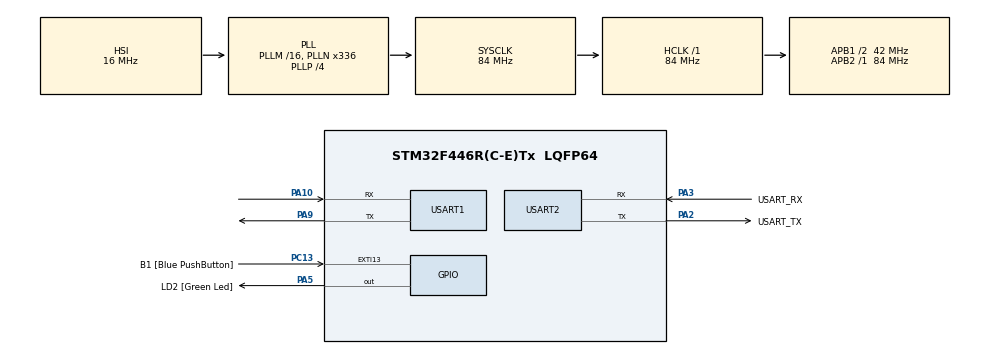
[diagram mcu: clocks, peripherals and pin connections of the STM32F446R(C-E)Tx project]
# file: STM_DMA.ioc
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Dma.Request0=USART1_RX
Dma.USART1_RX.0.Direction=DMA_PERIPH_TO_MEMORY
Dma.USART1_RX.0.FIFOMode=DMA_FIFOMODE_DISABLE
Dma.USART1_RX.0.Instance=DMA2_Stream2
Dma.USART1_RX.0.MemDataAlignment=DMA_MDATAALIGN_BYTE
Dma.USART1_RX.0.MemInc=DMA_MINC_ENABLE
Dma.USART1_RX.0.Mode=DMA_CIRCULAR
Dma.USART1_RX.0.PeriphDataAlignment=DMA_PDATAALIGN_BYTE
Dma.USART1_RX.0.PeriphInc=DMA_PINC_DISABLE
Dma.USART1_RX.0.Priority=DMA_PRIORITY_LOW
Mcu.Family=STM32F4
Mcu.Name=STM32F446R(C-E)Tx
Mcu.Package=LQFP64
NVIC.DMA2_Stream2_IRQn=true\:0\:0\:false\:false\:true\:false\:true\:true
NVIC.PriorityGroup=NVIC_PRIORITYGROUP_0
PA10.Mode=Asynchronous
PA10.Signal=USART1_RX
PA13.GPIO_Label=TMS
PA13.Mode=Serial_Wire
PA13.Signal=SYS_JTMS-SWDIO
PA14.GPIO_Label=TCK
PA14.Mode=Serial_Wire
PA14.Signal=SYS_JTCK-SWCLK
PA2.GPIO_Label=USART_TX
PA2.Mode=Asynchronous
PA2.Signal=USART2_TX
PA3.GPIO_Label=USART_RX
PA3.Mode=Asynchronous
PA3.Signal=USART2_RX
PA5.GPIO_Label=LD2 [Green Led]
PA5.Signal=GPIO_Output
PA9.Mode=Asynchronous
PA9.Signal=USART1_TX
PB3.GPIO_Label=SWO
PB3.Signal=SYS_JTDO-SWO
PC13.GPIO_Label=B1 [Blue PushButton]
PC13.GPIO_ModeDefaultEXTI=GPIO_MODE_IT_FALLING
PC13.Signal=GPXTI13
PC14-OSC32_IN.Mode=LSE-External-Oscillator
PC14-OSC32_IN.Signal=RCC_OSC32_IN
PC15-OSC32_OUT.Mode=LSE-External-Oscillator
PC15-OSC32_OUT.Signal=RCC_OSC32_OUT
PH0-OSC_IN.Mode=HSE-External-Oscillator
PH0-OSC_IN.Signal=RCC_OSC_IN
PH1-OSC_OUT.Mode=HSE-External-Oscillator
PH1-OSC_OUT.Signal=RCC_OSC_OUT
ProjectManager.HeapSize=0x200
ProjectManager.StackSize=0x400
ProjectManager.TargetToolchain=STM32CubeIDE
RCC.48MHZClocksFreq_Value=84000000
RCC.AHBFreq_Value=84000000
RCC.APB1CLKDivider=RCC_HCLK_DIV2
RCC.APB1Freq_Value=42000000
RCC.APB1TimFreq_Value=84000000
RCC.APB2Freq_Value=84000000
RCC.APB2TimFreq_Value=84000000
RCC.CortexFreq_Value=84000000
RCC.FLatency-AdvancedSettings=FLASH_LATENCY_2
RCC.HCLKFreq_Value=84000000
RCC.HSE_VALUE=8000000
RCC.HSI_VALUE=16000000
RCC.PLLN=336
RCC.PLLP=RCC_PLLP_DIV4
RCC.SYSCLKFreq_VALUE=84000000
RCC.SYSCLKSource=RCC_SYSCLKSOURCE_PLLCLK
RCC.USBFreq_Value=168000000
RCC.VCOOutputFreq_Value=336000000
USART1.VirtualMode=VM_ASYNC
USART2.VirtualMode=VM_ASYNC
board=NUCLEO-F446RE

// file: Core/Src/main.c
/* USER CODE BEGIN Header */
/**
  ******************************************************************************
  * @file           : main.c
  * @brief          : Main program body
  ******************************************************************************
  * @attention
  *
  * Copyright (c) 2025 STMicroelectronics.
  * All rights reserved.
  *
  * This software is licensed under terms that can be found in the LICENSE file
  * in the root directory of this software component.
  * If no LICENSE file comes with this software, it is provided AS-IS.
  *
  ******************************************************************************
  */
/* USER CODE END Header */
#include "main.h"

UART_HandleTypeDef huart1;
UART_HandleTypeDef huart2;
DMA_HandleTypeDef hdma_usart1_rx;

void SystemClock_Config(void);
static void MX_GPIO_Init(void);
static void MX_DMA_Init(void);
static void MX_USART2_UART_Init(void);
static void MX_USART1_UART_Init(void);

/* USER CODE BEGIN 0 */
#define BUFFER_SIZE 20

volatile uint8_t RxData[BUFFER_SIZE];     // DMA reception buffer
volatile uint8_t ParsedData[BUFFER_SIZE]; // Data ready for plotting
volatile uint16_t DataLength = 0;         // Number of valid bytes parsed
int countfull = 0;

void ParseDMADataAndForward(uint8_t *dmaBuffer, uint16_t length)
{
    // Limit to buffer size
    if (length > BUFFER_SIZE) length = BUFFER_SIZE;

    for (uint16_t i = 0; i < length; i++)
    {
        ParsedData[i] = dmaBuffer[i]; // store for plotting
    }

    DataLength = length; // update length for SWM or plotting

    // Forward parsed data to USART2
    HAL_UART_Transmit(&huart2, ParsedData, DataLength, HAL_MAX_DELAY);
}
int i;
void HAL_UART_RxCpltCallback(UART_HandleTypeDef *huart)
{
    if (huart->Instance == USART1)
    {
        countfull++;                          // increment packet counter
        if(RxData[0]==0xAA)
        {
        ParseDMADataAndForward((uint8_t *)RxData, 20);   // parse first 4 bytes
        }
        else
        {
;
        	i++;
        }
        HAL_UART_Receive_DMA(&huart1, RxData, 20); // restart DMA
    }
}

/* USER CODE END 0 */

int main(void)
{

  /* MCU Configuration--------------------------------------------------------*/

  /* Reset of all peripherals, Initializes the Flash interface and the Systick. */
  HAL_Init();

  /* Configure the system clock */
  SystemClock_Config();

  /* Initialize all configured peripherals */
  MX_GPIO_Init();
  MX_DMA_Init();
  MX_USART2_UART_Init();
  MX_USART1_UART_Init();
  /* USER CODE BEGIN 2 */
  HAL_UART_Receive_DMA(&huart1, RxData, 20);
  /* USER CODE END 2 */

  /* Infinite loop */
  while (1)
  {

    /* USER CODE BEGIN 3 */
	  HAL_GPIO_TogglePin(GPIOA, GPIO_PIN_5);
	  HAL_Delay(1000);
  }
  /* USER CODE END 3 */
}

void SystemClock_Config(void)
{
  RCC_OscInitTypeDef RCC_OscInitStruct = {0};
  RCC_ClkInitTypeDef RCC_ClkInitStruct = {0};

  /** Configure the main internal regulator output voltage
  */
  __HAL_RCC_PWR_CLK_ENABLE();
  __HAL_PWR_VOLTAGESCALING_CONFIG(PWR_REGULATOR_VOLTAGE_SCALE3);

  /** Initializes the RCC Oscillators according to the specified parameters
  * in the RCC_OscInitTypeDef structure.
  */
  RCC_OscInitStruct.OscillatorType = RCC_OSCILLATORTYPE_HSI;
  RCC_OscInitStruct.HSIState = RCC_HSI_ON;
  RCC_OscInitStruct.HSICalibrationValue = RCC_HSICALIBRATION_DEFAULT;
  RCC_OscInitStruct.PLL.PLLState = RCC_PLL_ON;
  RCC_OscInitStruct.PLL.PLLSource = RCC_PLLSOURCE_HSI;
  RCC_OscInitStruct.PLL.PLLM = 16;
  RCC_OscInitStruct.PLL.PLLN = 336;
  RCC_OscInitStruct.PLL.PLLP = RCC_PLLP_DIV4;
  RCC_OscInitStruct.PLL.PLLQ = 2;
  RCC_OscInitStruct.PLL.PLLR = 2;
  if (HAL_RCC_OscConfig(&RCC_OscInitStruct) != HAL_OK)
  {
    Error_Handler();
  }

  /** Initializes the CPU, AHB and APB buses clocks
  */
  RCC_ClkInitStruct.ClockType = RCC_CLOCKTYPE_HCLK|RCC_CLOCKTYPE_SYSCLK
                              |RCC_CLOCKTYPE_PCLK1|RCC_CLOCKTYPE_PCLK2;
  RCC_ClkInitStruct.SYSCLKSource = RCC_SYSCLKSOURCE_PLLCLK;
  RCC_ClkInitStruct.AHBCLKDivider = RCC_SYSCLK_DIV1;
  RCC_ClkInitStruct.APB1CLKDivider = RCC_HCLK_DIV2;
  RCC_ClkInitStruct.APB2CLKDivider = RCC_HCLK_DIV1;

  if (HAL_RCC_ClockConfig(&RCC_ClkInitStruct, FLASH_LATENCY_2) != HAL_OK)
  {
    Error_Handler();
  }
}

static void MX_USART1_UART_Init(void)
{

  huart1.Instance = USART1;
  huart1.Init.BaudRate = 921600;
  huart1.Init.WordLength = UART_WORDLENGTH_8B;
  huart1.Init.StopBits = UART_STOPBITS_1;
  huart1.Init.Parity = UART_PARITY_NONE;
  huart1.Init.Mode = UART_MODE_TX_RX;
  huart1.Init.HwFlowCtl = UART_HWCONTROL_NONE;
  huart1.Init.OverSampling = UART_OVERSAMPLING_16;
  if (HAL_UART_Init(&huart1) != HAL_OK)
  {
    Error_Handler();
  }

}

static void MX_USART2_UART_Init(void)
{

  huart2.Instance = USART2;
  huart2.Init.BaudRate = 921600;
  huart2.Init.WordLength = UART_WORDLENGTH_8B;
  huart2.Init.StopBits = UART_STOPBITS_1;
  huart2.Init.Parity = UART_PARITY_NONE;
  huart2.Init.Mode = UART_MODE_TX_RX;
  huart2.Init.HwFlowCtl = UART_HWCONTROL_NONE;
  huart2.Init.OverSampling = UART_OVERSAMPLING_16;
  if (HAL_UART_Init(&huart2) != HAL_OK)
  {
    Error_Handler();
  }

}

static void MX_DMA_Init(void)
{

  /* DMA controller clock enable */
  __HAL_RCC_DMA2_CLK_ENABLE();

  /* DMA interrupt init */
  /* DMA2_Stream2_IRQn interrupt configuration */
  HAL_NVIC_SetPriority(DMA2_Stream2_IRQn, 0, 0);
  HAL_NVIC_EnableIRQ(DMA2_Stream2_IRQn);

}

static void MX_GPIO_Init(void)
{
  GPIO_InitTypeDef GPIO_InitStruct = {0};

  /* GPIO Ports Clock Enable */
  __HAL_RCC_GPIOC_CLK_ENABLE();
  __HAL_RCC_GPIOH_CLK_ENABLE();
  __HAL_RCC_GPIOA_CLK_ENABLE();
  __HAL_RCC_GPIOB_CLK_ENABLE();

  /*Configure GPIO pin Output Level */
  HAL_GPIO_WritePin(LD2_GPIO_Port, LD2_Pin, GPIO_PIN_RESET);

  /*Configure GPIO pin : B1_Pin */
  GPIO_InitStruct.Pin = B1_Pin;
  GPIO_InitStruct.Mode = GPIO_MODE_IT_FALLING;
  GPIO_InitStruct.Pull = GPIO_NOPULL;
  HAL_GPIO_Init(B1_GPIO_Port, &GPIO_InitStruct);

  /*Configure GPIO pin : LD2_Pin */
  GPIO_InitStruct.Pin = LD2_Pin;
  GPIO_InitStruct.Mode = GPIO_MODE_OUTPUT_PP;
  GPIO_InitStruct.Pull = GPIO_NOPULL;
  GPIO_InitStruct.Speed = GPIO_SPEED_FREQ_LOW;
  HAL_GPIO_Init(LD2_GPIO_Port, &GPIO_InitStruct);

}

void Error_Handler(void)
{
  __disable_irq();
  while (1)
  {
  }
}
